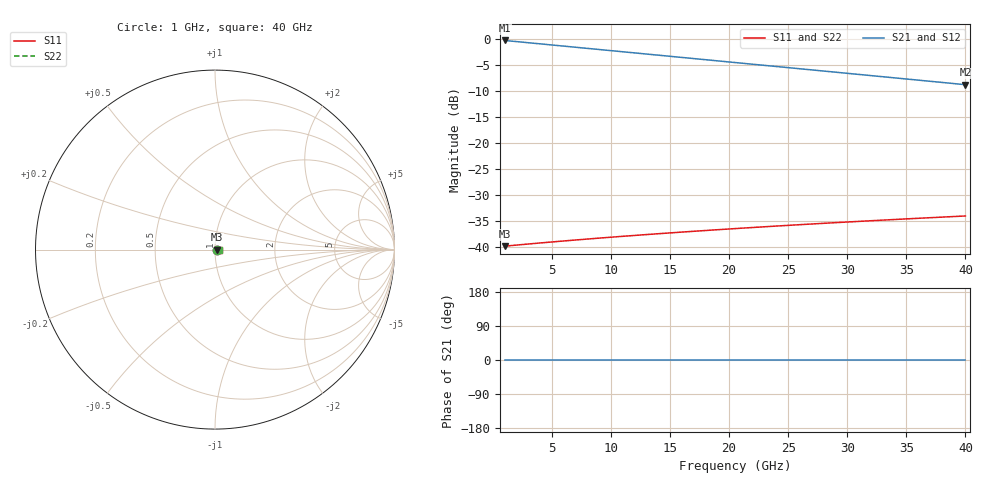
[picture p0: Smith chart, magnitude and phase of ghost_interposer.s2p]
! SHBT-GHOST 12-layer RO4350B interposer
! Z0 = 50.12 ohm reference, swept to 40 GHz
# GHz S RI R 50.12
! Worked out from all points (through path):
!   40 points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, 1 GHz to 40 GHz, reference 50.12 ohm
!   highest |S21| = -0.22 dB at 1 GHz (marker M1); lowest = -8.7 dB at 40 GHz (marker M2)
!   lowest |S11| = -39.8 dB at 1 GHz (marker M3), VSWR 1.02, Z = 51.2 + j0 ohm
!   |S11| at or under -10 dB: start of sweep to end of sweep
!   |S22| runs from -39.8 to -34.0 dB; largest |S21 - S12| = 0
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1  0.0103 0  0.9753 0  0.9753 0  0.0103 0
2  0.0105 0  0.9512 0  0.9512 0  0.0105 0
4  0.011 0  0.9047 0  0.9047 0  0.011 0
6  0.0115 0  0.8605 0  0.8605 0  0.0115 0
8  0.012 0  0.8185 0  0.8185 0  0.012 0
9  0.0123 0  0.7982 0  0.7982 0  0.0123 0
11  0.0127 0  0.7592 0  0.7592 0  0.0127 0
12  0.013 0  0.7404 0  0.7404 0  0.013 0
14  0.0135 0  0.7042 0  0.7042 0  0.0135 0
16  0.014 0  0.6697 0  0.6697 0  0.014 0
17  0.0143 0  0.6531 0  0.6531 0  0.0143 0
19  0.0147 0  0.6211 0  0.6211 0  0.0147 0
21  0.0152 0  0.5907 0  0.5907 0  0.0152 0
22  0.0155 0  0.576 0  0.576 0  0.0155 0
24  0.016 0  0.5478 0  0.5478 0  0.016 0
25  0.0163 0  0.5342 0  0.5342 0  0.0163 0
27  0.0168 0  0.508 0  0.508 0  0.0168 0
30  0.0175 0  0.4711 0  0.4711 0  0.0175 0
32  0.018 0  0.448 0  0.448 0  0.018 0
34  0.0185 0  0.426 0  0.426 0  0.0185 0
37  0.0192 0  0.395 0  0.395 0  0.0192 0
40  0.02 0  0.3663 0  0.3663 0  0.02 0
